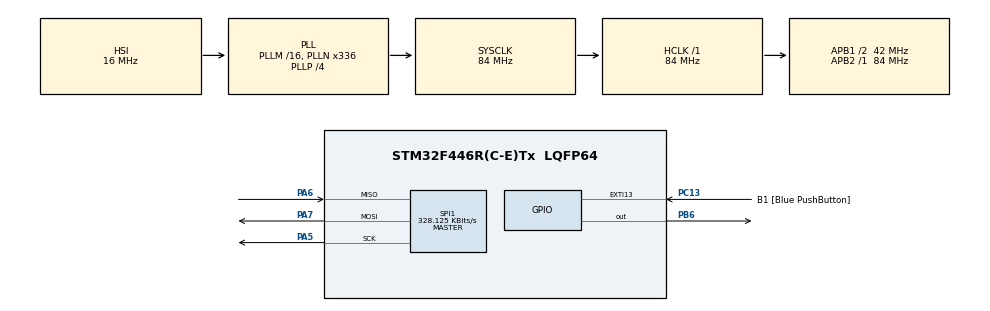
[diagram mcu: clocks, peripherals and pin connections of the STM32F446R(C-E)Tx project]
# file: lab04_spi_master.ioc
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Mcu.Family=STM32F4
Mcu.Name=STM32F446R(C-E)Tx
Mcu.Package=LQFP64
NVIC.PriorityGroup=NVIC_PRIORITYGROUP_0
PA13.GPIO_Label=TMS
PA13.Signal=SYS_JTMS-SWDIO
PA14.GPIO_Label=TCK
PA14.Signal=SYS_JTCK-SWCLK
PA2.GPIO_Label=USART_TX
PA2.Signal=USART2_TX
PA3.GPIO_Label=USART_RX
PA3.Signal=USART2_RX
PA5.Mode=Full_Duplex_Master
PA5.Signal=SPI1_SCK
PA6.Mode=Full_Duplex_Master
PA6.Signal=SPI1_MISO
PA7.Mode=Full_Duplex_Master
PA7.Signal=SPI1_MOSI
PB3.GPIO_Label=SWO
PB3.Signal=SYS_JTDO-SWO
PB6.PinState=GPIO_PIN_SET
PB6.Signal=GPIO_Output
PC13.GPIO_Label=B1 [Blue PushButton]
PC13.GPIO_ModeDefaultEXTI=GPIO_MODE_IT_FALLING
PC13.Signal=GPXTI13
PC14-OSC32_IN.Signal=RCC_OSC32_IN
PC15-OSC32_OUT.Signal=RCC_OSC32_OUT
PH0-OSC_IN.Signal=RCC_OSC_IN
PH1-OSC_OUT.Signal=RCC_OSC_OUT
ProjectManager.HeapSize=0x200
ProjectManager.StackSize=0x400
ProjectManager.TargetToolchain=STM32CubeIDE
RCC.AHBFreq_Value=84000000
RCC.APB1CLKDivider=RCC_HCLK_DIV2
RCC.APB1Freq_Value=42000000
RCC.APB1TimFreq_Value=84000000
RCC.APB2Freq_Value=84000000
RCC.APB2TimFreq_Value=84000000
RCC.CortexFreq_Value=84000000
RCC.FLatency-AdvancedSettings=FLASH_LATENCY_2
RCC.HCLKFreq_Value=84000000
RCC.HSE_VALUE=8000000
RCC.HSI_VALUE=16000000
RCC.LSE_VALUE=32768
RCC.PLLN=336
RCC.PLLP=RCC_PLLP_DIV4
RCC.SYSCLKFreq_VALUE=84000000
RCC.SYSCLKSource=RCC_SYSCLKSOURCE_PLLCLK
RCC.USBFreq_Value=168000000
RCC.VCOOutputFreq_Value=336000000
SPI1.BaudRatePrescaler=SPI_BAUDRATEPRESCALER_256
SPI1.CalculateBaudRate=328.125 KBits/s
SPI1.Direction=SPI_DIRECTION_2LINES
SPI1.Mode=SPI_MODE_MASTER
SPI1.VirtualType=VM_MASTER
board=NUCLEO-F446RE

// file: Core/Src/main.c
/* USER CODE BEGIN Header */
/**
  ******************************************************************************
  * @file           : main.c
  * @brief          : Main program body
  ******************************************************************************
  * @attention
  *
  * Copyright (c) 2026 STMicroelectronics.
  * All rights reserved.
  *
  * This software is licensed under terms that can be found in the LICENSE file
  * in the root directory of this software component.
  * If no LICENSE file comes with this software, it is provided AS-IS.
  *
  ******************************************************************************
  */
/* USER CODE END Header */
#include "main.h"

SPI_HandleTypeDef hspi1;

/* USER CODE BEGIN PV */
uint8_t master_tx[2] = {0x01, 0x37};
uint8_t master_rx[2] = {0};
HAL_StatusTypeDef spi_status = HAL_ERROR;
uint8_t dummy_tx[2] = {0x00, 0x00};
uint8_t response_rx[2] = {0};

HAL_StatusTypeDef response_status = HAL_ERROR;
/* USER CODE END PV */

void SystemClock_Config(void);
static void MX_GPIO_Init(void);
static void MX_SPI1_Init(void);

int main(void)
{

  /* MCU Configuration--------------------------------------------------------*/

  /* Reset of all peripherals, Initializes the Flash interface and the Systick. */
  HAL_Init();

  /* Configure the system clock */
  SystemClock_Config();

  /* Initialize all configured peripherals */
  MX_GPIO_Init();
  MX_SPI1_Init();
  /* USER CODE BEGIN 2 */

  /* Enable SPI before selecting the slave */
  __HAL_SPI_ENABLE(&hspi1);

  /* Allow SCK to settle at CPOL = 0 */
  HAL_Delay(1);

  /* Select slave: CS = LOW */
  HAL_GPIO_WritePin(GPIOB, GPIO_PIN_6, GPIO_PIN_RESET);

  /* Exchange two bytes */
  spi_status = HAL_SPI_TransmitReceive(
      &hspi1,
      master_tx,
      master_rx,
      2,
      100
  );

  /* Deselect slave: CS = HIGH */
  HAL_GPIO_WritePin(GPIOB, GPIO_PIN_6, GPIO_PIN_SET);

  /* Allow slave to process command and prepare response */
  HAL_Delay(1);

  /* Select slave for response transaction */
  HAL_GPIO_WritePin(GPIOB, GPIO_PIN_6, GPIO_PIN_RESET);

  /* Generate clocks to receive calculated response */
  response_status = HAL_SPI_TransmitReceive(
      &hspi1,
      dummy_tx,
      response_rx,
      2,
      100
  );

  /* Deselect slave */
  HAL_GPIO_WritePin(GPIOB, GPIO_PIN_6, GPIO_PIN_SET);
  /* USER CODE END 2 */

  /* Infinite loop */
  while (1)
  {

    /* USER CODE BEGIN 3 */
	  __NOP();
  }
  /* USER CODE END 3 */
}

void SystemClock_Config(void)
{
  RCC_OscInitTypeDef RCC_OscInitStruct = {0};
  RCC_ClkInitTypeDef RCC_ClkInitStruct = {0};

  /** Configure the main internal regulator output voltage
  */
  __HAL_RCC_PWR_CLK_ENABLE();
  __HAL_PWR_VOLTAGESCALING_CONFIG(PWR_REGULATOR_VOLTAGE_SCALE3);

  /** Initializes the RCC Oscillators according to the specified parameters
  * in the RCC_OscInitTypeDef structure.
  */
  RCC_OscInitStruct.OscillatorType = RCC_OSCILLATORTYPE_HSI;
  RCC_OscInitStruct.HSIState = RCC_HSI_ON;
  RCC_OscInitStruct.HSICalibrationValue = RCC_HSICALIBRATION_DEFAULT;
  RCC_OscInitStruct.PLL.PLLState = RCC_PLL_ON;
  RCC_OscInitStruct.PLL.PLLSource = RCC_PLLSOURCE_HSI;
  RCC_OscInitStruct.PLL.PLLM = 16;
  RCC_OscInitStruct.PLL.PLLN = 336;
  RCC_OscInitStruct.PLL.PLLP = RCC_PLLP_DIV4;
  RCC_OscInitStruct.PLL.PLLQ = 2;
  RCC_OscInitStruct.PLL.PLLR = 2;
  if (HAL_RCC_OscConfig(&RCC_OscInitStruct) != HAL_OK)
  {
    Error_Handler();
  }

  /** Initializes the CPU, AHB and APB buses clocks
  */
  RCC_ClkInitStruct.ClockType = RCC_CLOCKTYPE_HCLK|RCC_CLOCKTYPE_SYSCLK
                              |RCC_CLOCKTYPE_PCLK1|RCC_CLOCKTYPE_PCLK2;
  RCC_ClkInitStruct.SYSCLKSource = RCC_SYSCLKSOURCE_PLLCLK;
  RCC_ClkInitStruct.AHBCLKDivider = RCC_SYSCLK_DIV1;
  RCC_ClkInitStruct.APB1CLKDivider = RCC_HCLK_DIV2;
  RCC_ClkInitStruct.APB2CLKDivider = RCC_HCLK_DIV1;

  if (HAL_RCC_ClockConfig(&RCC_ClkInitStruct, FLASH_LATENCY_2) != HAL_OK)
  {
    Error_Handler();
  }
}

static void MX_SPI1_Init(void)
{

  /* SPI1 parameter configuration*/
  hspi1.Instance = SPI1;
  hspi1.Init.Mode = SPI_MODE_MASTER;
  hspi1.Init.Direction = SPI_DIRECTION_2LINES;
  hspi1.Init.DataSize = SPI_DATASIZE_8BIT;
  hspi1.Init.CLKPolarity = SPI_POLARITY_LOW;
  hspi1.Init.CLKPhase = SPI_PHASE_1EDGE;
  hspi1.Init.NSS = SPI_NSS_SOFT;
  hspi1.Init.BaudRatePrescaler = SPI_BAUDRATEPRESCALER_256;
  hspi1.Init.FirstBit = SPI_FIRSTBIT_MSB;
  hspi1.Init.TIMode = SPI_TIMODE_DISABLE;
  hspi1.Init.CRCCalculation = SPI_CRCCALCULATION_DISABLE;
  hspi1.Init.CRCPolynomial = 10;
  if (HAL_SPI_Init(&hspi1) != HAL_OK)
  {
    Error_Handler();
  }

}

static void MX_GPIO_Init(void)
{
  GPIO_InitTypeDef GPIO_InitStruct = {0};

  /* GPIO Ports Clock Enable */
  __HAL_RCC_GPIOC_CLK_ENABLE();
  __HAL_RCC_GPIOH_CLK_ENABLE();
  __HAL_RCC_GPIOA_CLK_ENABLE();
  __HAL_RCC_GPIOB_CLK_ENABLE();

  /*Configure GPIO pin Output Level */
  HAL_GPIO_WritePin(GPIOB, GPIO_PIN_6, GPIO_PIN_SET);

  /*Configure GPIO pin : B1_Pin */
  GPIO_InitStruct.Pin = B1_Pin;
  GPIO_InitStruct.Mode = GPIO_MODE_IT_FALLING;
  GPIO_InitStruct.Pull = GPIO_NOPULL;
  HAL_GPIO_Init(B1_GPIO_Port, &GPIO_InitStruct);

  /*Configure GPIO pins : USART_TX_Pin USART_RX_Pin */
  GPIO_InitStruct.Pin = USART_TX_Pin|USART_RX_Pin;
  GPIO_InitStruct.Mode = GPIO_MODE_AF_PP;
  GPIO_InitStruct.Pull = GPIO_NOPULL;
  GPIO_InitStruct.Speed = GPIO_SPEED_FREQ_VERY_HIGH;
  GPIO_InitStruct.Alternate = GPIO_AF7_USART2;
  HAL_GPIO_Init(GPIOA, &GPIO_InitStruct);

  /*Configure GPIO pin : PB6 */
  GPIO_InitStruct.Pin = GPIO_PIN_6;
  GPIO_InitStruct.Mode = GPIO_MODE_OUTPUT_PP;
  GPIO_InitStruct.Pull = GPIO_NOPULL;
  GPIO_InitStruct.Speed = GPIO_SPEED_FREQ_LOW;
  HAL_GPIO_Init(GPIOB, &GPIO_InitStruct);

}

void Error_Handler(void)
{
  __disable_irq();
  while (1)
  {
  }
}
